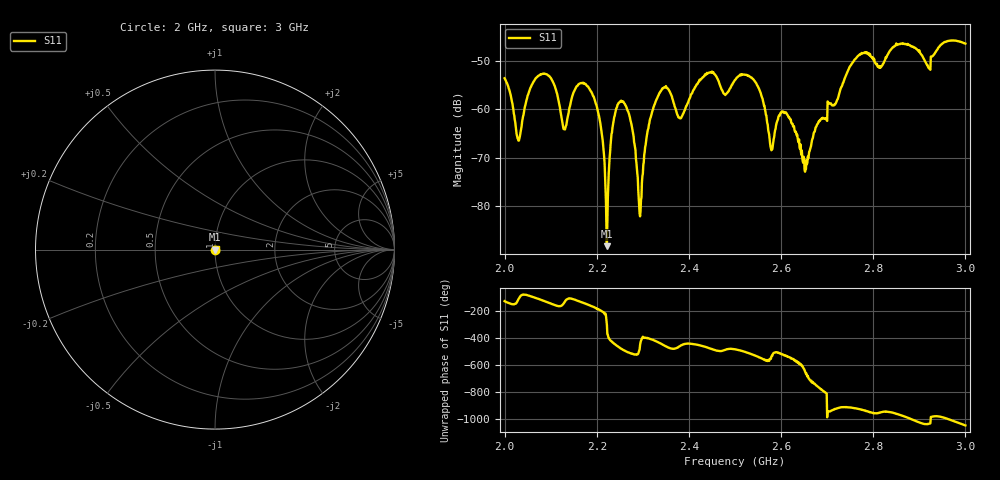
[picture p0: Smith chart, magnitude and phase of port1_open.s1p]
!Created with skrf (http://scikit-rf.org).
# GHz S RI R 50.0
!freq ReS11 ImS11
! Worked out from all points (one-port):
!   1001 points, 2 GHz to 3 GHz, reference 50 ohm
!   lowest |S11| = -88.2 dB at 2.222 GHz (marker M1), VSWR 1.00, Z = 50 + j0.00325 ohm
!   |S11| at or under -10 dB: start of sweep to end of sweep
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2  -0.00129 -0.00164
2.03  -0.000187 -0.000437
2.079  -0.00109 -0.00202
2.105  -0.00168 -0.000902
2.125  -0.000693 -0.000284
2.159  -0.00103 -0.00143
2.185  -0.00149 -0.000545
2.207  -0.000724 0.000185
2.222  2.13e-05 3.25e-05
2.235  0.000191 -0.000658
2.25  -0.000455 -0.0011
2.274  -0.00067 -0.000321
2.294  -2.5e-06 -7.88e-05
2.311  0.000463 -0.000406
2.333  0.000442 -0.00129
2.353  -0.000487 -0.00157
2.375  -0.000315 -0.000815
2.44  -0.000827 -0.00219
2.5  -0.00111 -0.00167
2.547  -0.0018 -0.000161
2.579  -0.000377 -2e-05
2.6  -0.000851 -0.000334
2.625  -0.000686 0.000174
2.655  0.000158 0.000253
2.75  -0.00271 0.000631
2.875  -5.51e-05 0.00471
2.919  0.00196 0.0019
3  0.00395 0.00262
